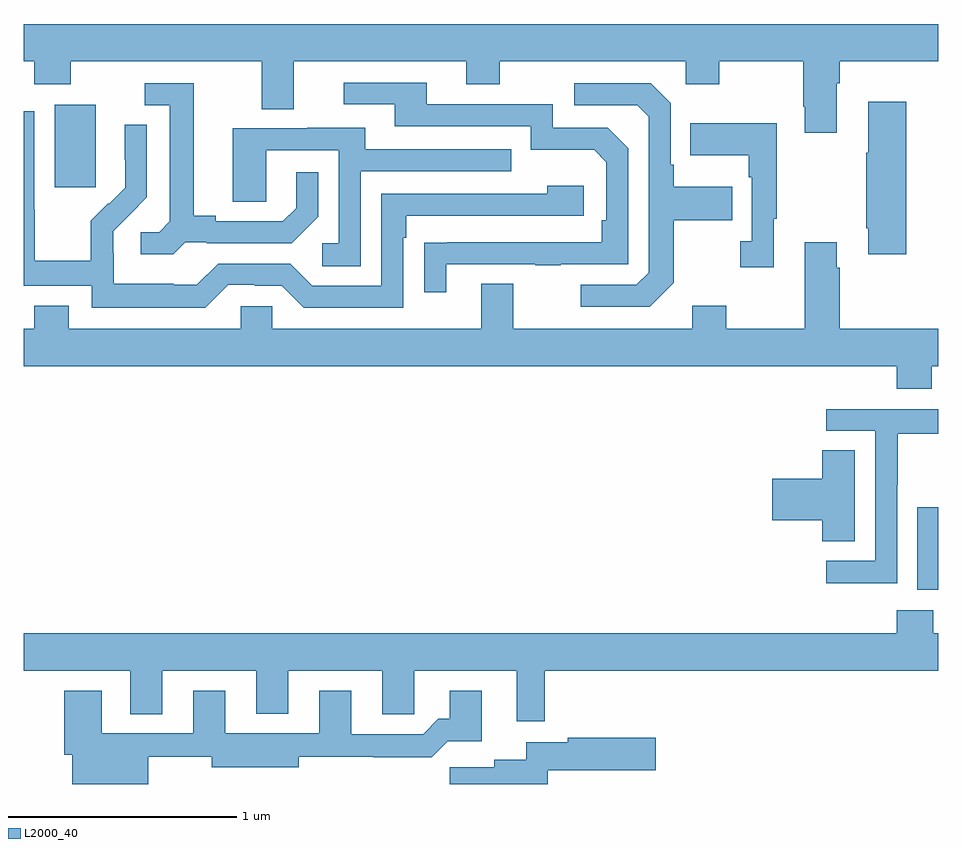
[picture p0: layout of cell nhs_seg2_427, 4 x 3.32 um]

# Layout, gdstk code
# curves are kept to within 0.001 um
import gdstk
lib = gdstk.Library(unit=1e-6, precision=1e-09)
def R(c, l, rs):  # rectangles x0, y0, x1, y1
    for r in rs: c.add(gdstk.rectangle(r[:2], r[2:], *l))
def P(c, l, *ps):  # polygons
    for p in ps: c.add(gdstk.Polygon(p, *l))
L2000_40 = (2000, 40)

nhs_seg2_427 = lib.new_cell('nhs_seg2_427')
R(nhs_seg2_427, L2000_40, [(134.909,654.65,135,655.011), (131.135,656.409,131.314,656.77)])
P(nhs_seg2_427, L2000_40, [(134.557,656.864),(134.57,656.864),(134.57,656.96),(135,656.96),(135,657.124),(131,657.124),(131,656.96),(131.045,656.96),(131.045,656.861),(131.205,656.861),(131.205,656.96),(132.041,656.96),(132.041,656.752),(132.181,656.752),(132.181,656.96),(132.935,656.96),(132.935,656.861),(133.083,656.861),(133.083,656.96),(133.896,656.96),(133.896,656.861),(134.043,656.861),(134.043,656.96),(134.41,656.96),(134.41,656.761),(134.417,656.761),(134.417,656.649),(134.557,656.649)],
  [(132.847,656.073),(133.237,656.073),(133.237,656.068),(133.349,656.068),(133.349,656.073),(133.644,656.073),(133.644,656.58),(133.554,656.67),(133.314,656.67),(133.314,656.772),(132.763,656.772),(132.763,656.868),(132.399,656.868),(132.399,656.772),(132.623,656.772),(132.623,656.676),(133.218,656.676),(133.218,656.573),(133.495,656.573),(133.548,656.52),(133.548,656.266),(133.528,656.266),(133.528,656.169),(132.751,656.168),(132.751,655.95),(132.847,655.95)],
  [(133.843,655.993),(133.843,656.266),(134.099,656.266),(134.099,656.413),(133.843,656.413),(133.843,656.509),(133.83,656.509),(133.83,656.778),(133.743,656.865),(133.407,656.865),(133.407,656.769),(133.683,656.769),(133.734,656.718),(133.734,656.037),(133.68,655.983),(133.437,655.983),(133.437,655.887),(133.737,655.887)],
  [(131.706,656.169),(131.8,656.169),(131.8,656.166),(132.172,656.166),(132.288,656.282),(132.288,656.476),(132.191,656.476),(132.191,656.319),(132.134,656.262),(131.839,656.262),(131.839,656.285),(131.743,656.285),(131.743,656.865),(131.529,656.865),(131.529,656.769),(131.639,656.769),(131.639,656.261),(131.592,656.214),(131.511,656.214),(131.511,656.117),(131.654,656.117)],
  [(134.861,656.785),(134.693,656.785),(134.693,656.561),(134.686,656.561),(134.686,656.23),(134.693,656.23),(134.693,656.118),(134.861,656.118)],
  [(131.895,655.983),(132.011,655.983),(132.011,655.98),(132.129,655.98),(132.225,655.884),(132.66,655.884),(132.66,656.189),(132.673,656.189),(132.673,656.286),(133.45,656.286),(133.45,656.416),(133.289,656.416),(133.289,656.382),(132.564,656.382),(132.564,655.98),(132.261,655.98),(132.165,656.076),(131.85,656.076),(131.757,655.983),(131.657,655.983),(131.657,655.987),(131.394,655.987),(131.394,656.121),(131.392,656.121),(131.392,656.218),(131.538,656.366),(131.538,656.684),(131.442,656.684),(131.442,656.53),(131.444,656.53),(131.444,656.408),(131.373,656.337),(131.37,656.34),(131.293,656.263),(131.293,656.089),(131.049,656.089),(131.049,656.312),(131.046,656.312),(131.046,656.742),(131,656.742),(131,655.98),(131.298,655.98),(131.298,655.883),(131.795,655.883)],
  [(134.281,656.273),(134.293,656.273),(134.293,656.689),(133.915,656.689),(133.915,656.549),(134.172,656.549),(134.172,656.453),(134.184,656.453),(134.184,656.174),(134.133,656.174),(134.133,656.061),(134.281,656.061)],
  [(132.474,656.481),(133.133,656.481),(133.133,656.577),(132.493,656.577),(132.493,656.671),(132.239,656.671),(132.239,656.667),(131.915,656.667),(131.915,656.347),(132.06,656.347),(132.06,656.571),(132.378,656.571),(132.378,656.166),(132.306,656.166),(132.306,656.065),(132.474,656.065)],
  [(134.971,655.628),(135,655.628),(135,655.792),(134.57,655.792),(134.57,656.057),(134.557,656.057),(134.557,656.17),(134.417,656.17),(134.417,655.792),(134.073,655.792),(134.073,655.891),(133.925,655.891),(133.925,655.792),(133.141,655.792),(133.141,655.987),(133.001,655.987),(133.001,655.792),(132.087,655.792),(132.087,655.89),(131.949,655.89),(131.949,655.792),(131.197,655.792),(131.197,655.891),(131.045,655.891),(131.045,655.792),(131,655.792),(131,655.628),(134.819,655.628),(134.819,655.529),(134.971,655.529)],
  [(134.82,655.108),(134.823,655.108),(134.823,655.332),(135,655.332),(135,655.44),(134.511,655.44),(134.511,655.344),(134.724,655.344),(134.724,654.777),(134.511,654.777),(134.511,654.679),(134.82,654.679)],
  [(134.635,655.259),(134.492,655.259),(134.492,655.136),(134.274,655.136),(134.274,654.953),(134.492,654.953),(134.492,654.862),(134.635,654.862)],
  [(133.279,654.296),(135,654.296),(135,654.46),(134.979,654.46),(134.979,654.559),(134.819,654.559),(134.819,654.46),(131,654.46),(131,654.296),(131.465,654.296),(131.465,654.106),(131.605,654.106),(131.605,654.296),(132.017,654.296),(132.017,654.107),(132.157,654.107),(132.157,654.296),(132.569,654.296),(132.569,654.106),(132.708,654.106),(132.708,654.296),(133.157,654.296),(133.157,654.075),(133.279,654.075)],
  [(131.545,653.92),(131.822,653.92),(131.822,653.873),(132.202,653.873),(132.202,653.92),(132.529,653.92),(132.529,653.918),(132.785,653.918),(132.854,653.987),(133.003,653.987),(133.003,654.208),(132.863,654.208),(132.863,654.085),(132.814,654.085),(132.747,654.018),(132.433,654.018),(132.433,654.208),(132.293,654.208),(132.293,654.021),(131.881,654.022),(131.881,654.208),(131.741,654.208),(131.741,654.021),(131.341,654.021),(131.341,654.208),(131.177,654.208),(131.177,653.928),(131.213,653.928),(131.213,653.8),(131.545,653.8)],
  [(133.293,653.861),(133.765,653.861),(133.765,654.003),(133.38,654.003),(133.38,653.983),(133.197,653.983),(133.197,653.905),(133.058,653.905),(133.058,653.873),(132.864,653.873),(132.864,653.8),(133.293,653.8)])

lib.write_gds('nhs_seg2_427.gds')
